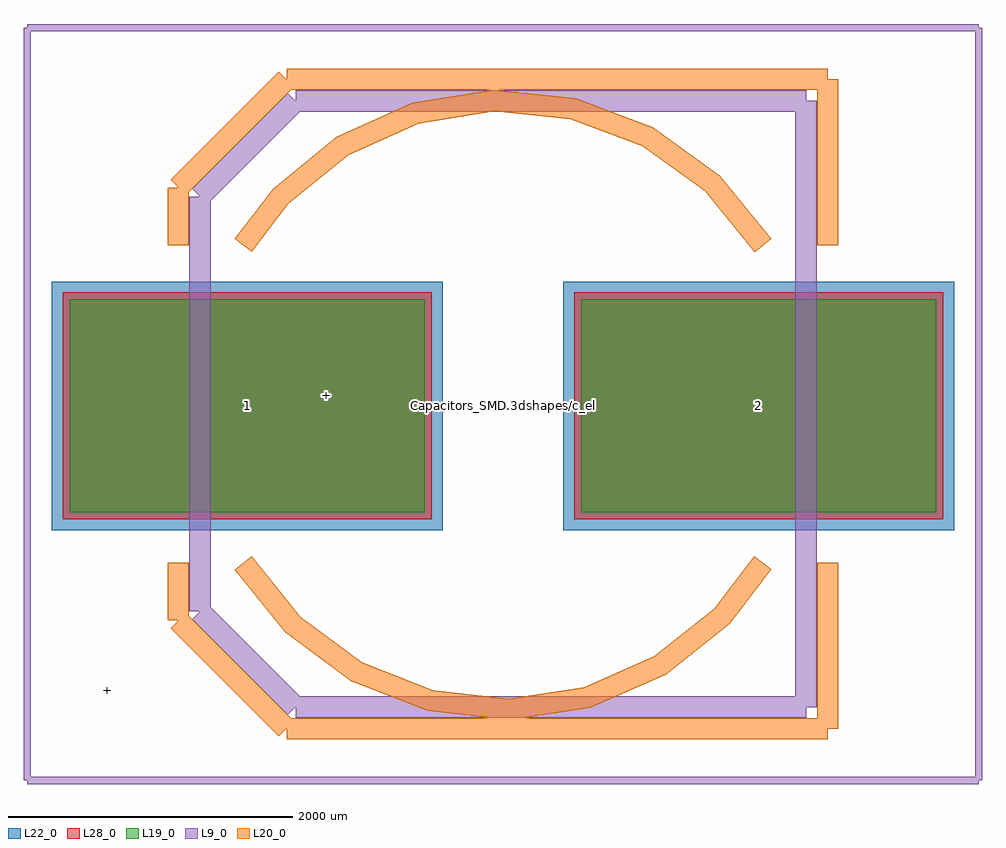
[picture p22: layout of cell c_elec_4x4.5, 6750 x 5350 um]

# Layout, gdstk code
import gdstk
lib = gdstk.Library(unit=1e-6, precision=1e-09)
def R(c, l, rs):  # rectangles x0, y0, x1, y1
    for r in rs: c.add(gdstk.rectangle(r[:2], r[2:], *l))
L9_0 = (9, 0)
L19_0 = (19, 0)
L20_0 = (20, 0)
L22_0 = (22, 0)
L28_0 = (28, 0)

c_elec_4x4_5 = lib.new_cell('c_elec_4x4.5')
R(c_elec_4x4_5, L19_0, [(-3050,-750,-550,750), (550,-750,3050,750)])
R(c_elec_4x4_5, L22_0, [(-3175,-875,-425,875), (425,-875,3175,875)])
R(c_elec_4x4_5, L28_0, [(-3100,-800,-500,800), (500,-800,3100,800)])
c_elec_4x4_5.add(gdstk.FlexPath([(-1524,-2273.3),(-2286,-1511.3)], 149.998, ends="flush", simple_path=True, layer=20, datatype=0))  # L20_0
c_elec_4x4_5.add(gdstk.FlexPath([(-1524,-2273.3),(2286,-2273.3)], 149.998, ends="flush", simple_path=True, layer=20, datatype=0))  # L20_0
c_elec_4x4_5.add(gdstk.FlexPath([(-1524,2298.7),(-2286,1536.7)], 149.998, ends="flush", simple_path=True, layer=20, datatype=0))  # L20_0
c_elec_4x4_5.add(gdstk.FlexPath([(-1524,2298.7),(2286,2298.7)], 149.998, ends="flush", simple_path=True, layer=20, datatype=0))  # L20_0
c_elec_4x4_5.add(gdstk.FlexPath([(-3350,2662.7),(-3350,-2637.3)], 50, ends="flush", simple_path=True, layer=9, datatype=0))  # L9_0
c_elec_4x4_5.add(gdstk.FlexPath([(3350,-2637.3),(3350,2662.7)], 50, ends="flush", simple_path=True, layer=9, datatype=0))  # L9_0
c_elec_4x4_5.add(gdstk.FlexPath([(-3350,-2637.3),(3350,-2637.3)], 50, ends="flush", simple_path=True, layer=9, datatype=0))  # L9_0
c_elec_4x4_5.add(gdstk.FlexPath([(3350,2662.7),(-3350,2662.7)], 50, ends="flush", simple_path=True, layer=9, datatype=0))  # L9_0
c_elec_4x4_5.add(gdstk.FlexPath([(-1828.374,-1105.603),(-1479.923,-1541.149),(-1030.617,-1871.667),(-511.076,-2074.635),(43.293,-2136.22),(594.713,-2052.225),(1105.603,-1828.375),(1541.149,-1479.923),(1828.8,-1104.9)], 149.998, ends="flush", simple_path=True, layer=20, datatype=0))  # L20_0
c_elec_4x4_5.add(gdstk.FlexPath([(1829.524,1129.127),(1474.945,1564.169),(1019.851,1892.615),(495.256,2092.082),(-63.091,2148.978),(-617.137,2059.424),(-1129.127,1829.524),(-1564.169,1474.945),(-1828.8,1130.3)], 149.998, ends="flush", simple_path=True, layer=20, datatype=0))  # L20_0
c_elec_4x4_5.add(gdstk.FlexPath([(-2286,1536.7),(-2286,1130.3)], 149.998, ends="flush", simple_path=True, layer=20, datatype=0))  # L20_0
c_elec_4x4_5.add(gdstk.FlexPath([(-2286,-1511.3),(-2286,-1104.9)], 149.998, ends="flush", simple_path=True, layer=20, datatype=0))  # L20_0
c_elec_4x4_5.add(gdstk.FlexPath([(2286,-2273.3),(2286,-1104.9)], 149.998, ends="flush", simple_path=True, layer=20, datatype=0))  # L20_0
c_elec_4x4_5.add(gdstk.FlexPath([(2286,2298.7),(2286,1130.3)], 149.998, ends="flush", simple_path=True, layer=20, datatype=0))  # L20_0
c_elec_4x4_5.add(gdstk.FlexPath([(2133.6,2146.3),(-1460.5,2146.3)], 149.998, ends="flush", simple_path=True, layer=9, datatype=0))  # L9_0
c_elec_4x4_5.add(gdstk.FlexPath([(-1460.5,2146.3),(-2133.6,1473.2)], 149.998, ends="flush", simple_path=True, layer=9, datatype=0))  # L9_0
c_elec_4x4_5.add(gdstk.FlexPath([(-2133.6,1473.2),(-2133.6,-1447.8)], 149.998, ends="flush", simple_path=True, layer=9, datatype=0))  # L9_0
c_elec_4x4_5.add(gdstk.FlexPath([(-2133.6,-1447.8),(-1460.5,-2120.9)], 149.998, ends="flush", simple_path=True, layer=9, datatype=0))  # L9_0
c_elec_4x4_5.add(gdstk.FlexPath([(-1460.5,-2120.9),(2133.6,-2120.9)], 149.998, ends="flush", simple_path=True, layer=9, datatype=0))  # L9_0
c_elec_4x4_5.add(gdstk.FlexPath([(2133.6,-2120.9),(2133.6,2146.3)], 149.998, ends="flush", simple_path=True, layer=9, datatype=0))  # L9_0
c_elec_4x4_5.add(gdstk.Label('Capacitors_SMD.3dshapes/c_elec_4x4.5.wrl', (0,0), layer=12, texttype=0))
c_elec_4x4_5.add(gdstk.Label('2', (1800,0), layer=28, texttype=0))
c_elec_4x4_5.add(gdstk.Label('1', (-1800,0), layer=28, texttype=0))
c_elec_4x4_5.add(gdstk.Label('+', (-2781.3,-1993.9), layer=9, texttype=0))
c_elec_4x4_5.add(gdstk.Label('+', (-1244.6,76.2), layer=9, texttype=0))
c_elec_4x4_5.add(gdstk.Label('type', (0,3454.4), layer=9, texttype=0))
c_elec_4x4_5.add(gdstk.Label('devicename', (0,-3581.4), layer=9, texttype=0))

lib.write_gds('c_elec_4x4.5.gds')
